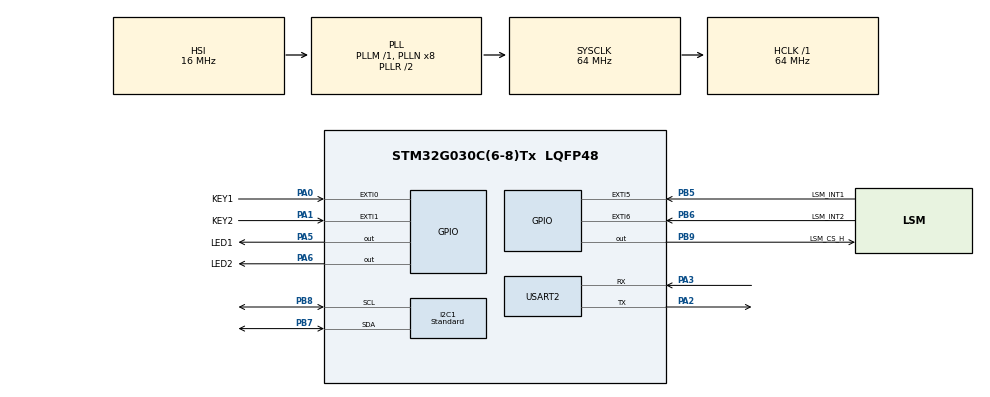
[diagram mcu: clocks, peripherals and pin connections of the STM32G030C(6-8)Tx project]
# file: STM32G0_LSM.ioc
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I2C1.I2C_Speed_Mode=I2C_Standard
I2C1.Timing=0x10707DBC
Mcu.Family=STM32G0
Mcu.Name=STM32G030C(6-8)Tx
Mcu.Package=LQFP48
NVIC.EXTI0_1_IRQn=true\:0\:0\:false\:false\:true\:true\:true
NVIC.EXTI4_15_IRQn=true\:0\:0\:false\:false\:true\:true\:true
NVIC.TIM3_IRQn=true\:1\:0\:true\:false\:true\:true\:true
NVIC.USART2_IRQn=true\:0\:0\:false\:false\:true\:true\:true
PA0.GPIO_Label=KEY1
PA0.Signal=GPXTI0
PA1.GPIO_Label=KEY2
PA1.Signal=GPXTI1
PA13.Mode=Serial_Wire
PA13.Signal=SYS_SWDIO
PA14-BOOT0.Mode=Serial_Wire
PA14-BOOT0.Signal=SYS_SWCLK
PA2.Mode=Asynchronous
PA2.Signal=USART2_TX
PA3.Mode=Asynchronous
PA3.Signal=USART2_RX
PA5.GPIO_Label=LED1
PA5.PinState=GPIO_PIN_SET
PA5.Signal=GPIO_Output
PA6.GPIO_Label=LED2
PA6.PinState=GPIO_PIN_SET
PA6.Signal=GPIO_Output
PB5.GPIO_Label=LSM_INT1
PB5.Signal=GPXTI5
PB6.GPIO_Label=LSM_INT2
PB6.Signal=GPXTI6
PB7.Mode=I2C
PB7.Signal=I2C1_SDA
PB8.Mode=I2C
PB8.Signal=I2C1_SCL
PB9.GPIO_Label=LSM_CS_H
PB9.PinState=GPIO_PIN_SET
PB9.Signal=GPIO_Output
PF0-OSC_IN\ (PF0).Mode=HSE-External-Oscillator
PF0-OSC_IN\ (PF0).Signal=RCC_OSC_IN
PF1-OSC_OUT\ (PF1).Mode=HSE-External-Oscillator
PF1-OSC_OUT\ (PF1).Signal=RCC_OSC_OUT
ProjectManager.HeapSize=0x200
ProjectManager.StackSize=0x400
ProjectManager.TargetToolchain=MDK-ARM V5
RCC.ADCFreq_Value=64000000
RCC.AHBFreq_Value=64000000
RCC.CortexFreq_Value=64000000
RCC.EXTERNAL_CLOCK_VALUE=12288000
RCC.HCLKFreq_Value=64000000
RCC.HSE_VALUE=16000000
RCC.HSI_VALUE=16000000
RCC.LSE_VALUE=32768
RCC.SYSCLKFreq_VALUE=64000000
RCC.SYSCLKSource=RCC_SYSCLKSOURCE_PLLCLK
RCC.VCOOutputFreq_Value=128000000
TIM3.AutoReloadPreload=TIM_AUTORELOAD_PRELOAD_ENABLE
TIM3.Period=160-1
TIM3.Prescaler=400-1
USART2.VirtualMode-Asynchronous=VM_ASYNC
VP_TIM3_VS_ClockSourceINT.Mode=Internal
board=custom

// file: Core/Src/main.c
/* USER CODE BEGIN Header */
/**
  ******************************************************************************
  * @file           : main.c
  * @brief          : Main program body
  ******************************************************************************
  * @attention
  *
  * <h2><center>&copy; Copyright (c) 2021 STMicroelectronics.
  * All rights reserved.</center></h2>
  *
  * This software component is licensed by ST under BSD 3-Clause license,
  * the "License"; You may not use this file except in compliance with the
  * License. You may obtain a copy of the License at:
  *                        opensource.org/licenses/BSD-3-Clause
  *
  ******************************************************************************
  */
/* USER CODE END Header */
#include "main.h"
#include "i2c.h"
#include "tim.h"
#include "usart.h"
#include "gpio.h"

/* USER CODE BEGIN Includes */
#include "lsm6dsl.h"
#include "MahonyAHRS.h"
#include "stdio.h"
#include "SEGGER_RTT.h"
#include "SEGGER_RTT_Conf.h"
#include "string.h"
/* USER CODE END Includes */

/* USER CODE BEGIN PTD */
#define Factor  70/1000

extern float  Accel_x;	     		//X轴加速度值暂存
extern float Accel_y;	    		//Y轴加速度值暂存
extern float Accel_z;	     		//Z轴加速度值暂存
extern float Gyro_x;				//X轴陀螺仪数据暂存
extern float Gyro_y;        		//Y轴陀螺仪数据暂存
extern float Gyro_z;		 		//Z轴陀螺仪数据暂存
extern S_short_XYZ ACC_Valu_First;
extern S_short_XYZ GYRO_Valu_First;
extern int16_t Acc[3],GYO[3];
extern float Temp;
extern float  Ax,Ay,Az,Gx,Gy,Gz;
extern float roll, pitch;
extern float TIMESTAMP0,TIMESTAMP1,TIMESTAMP2;
/* USER CODE END PTD */

void SystemClock_Config(void);
/* USER CODE BEGIN PFP */
//-----重新定义fputc函数-----//
int fputc(int ch, FILE *f)
{
  HAL_UART_Transmit(&huart2,(uint8_t *)&ch,1,1000);//阻塞方式打印
  return ch;
}
void uart_error(void)
{

	    char uart_error_flag=0;
	    uint8_t *Rx_buff;
	    uint16_t Rxdsize;
	    HAL_UART_Receive_IT(&huart2, (uint8_t *)Rx_buff, Rxdsize);
      if( (huart2.RxXferCount < Rxdsize) && (uart_error_flag==0) )
        {
            /*RxXferCount 告诉我们剩余空间大小，如果剩余空间和总空间不一样，则说明中断收到数据了*/
            printf("huart2.RxXferCount = %d\r\n",huart2.RxXferCount);
            uart_error_flag = 1;
            huart2.RxXferCount = 5; //修改剩余空间，防止无法进入回调
        }
}
/* USER CODE END PFP */

/* USER CODE BEGIN 0 */
void HAL_TIM_PeriodElapsedCallback(TIM_HandleTypeDef *htim)
{
	if(htim->Instance == TIM3)
	{
//  printf("Ax=%f Ay=%f Az=%f\r\n",Ax,Ay,Az);
//  printf("Gx=%f Gy=%f Gz=%f\r\n",Gx,Gy,Gz);
	}
}
/* USER CODE END 0 */

int main(void)
{

  /* MCU Configuration--------------------------------------------------------*/

  /* Reset of all peripherals, Initializes the Flash interface and the Systick. */
  HAL_Init();

  /* Configure the system clock */
  SystemClock_Config();

  /* Initialize all configured peripherals */
  MX_GPIO_Init();
  MX_I2C1_Init();
  MX_USART2_UART_Init();
  MX_TIM3_Init();

  /* USER CODE BEGIN 2 */
	uart_error(); //处理上电时串口中断误判的问题
	lsm6dsl_Init();
	HAL_TIM_Base_Start_IT(&htim3);
	Mahony_Init(200);
  /* USER CODE END 2 */

  /* Infinite loop */
  while (1)
  {

    /* USER CODE BEGIN 3 */

//		LSM6DSL_Read_timestamp();
		LSM6DSL_Read_Temp();		//得到温度值
		LSM6DSL_Accel();
		LSM6DSL_Gyro();
		LSM6DSL_ReadValu();
		Mahony_update( GYRO_Valu_First.X * Factor,GYRO_Valu_First.Y * Factor, GYRO_Valu_First.Z* Factor,
									ACC_Valu_First.X,ACC_Valu_First.Y,ACC_Valu_First.Z,
									0,0,0);
		Mahony_computeAngles();

		printf("Ax=%.2f Ay=%.2f Az=%.2f\r\n",Accel_x,Accel_y,Accel_z);
    printf("Gx=%.2f Gy=%.2f Gz=%.2f\r\n",Gyro_x,Gyro_y,Gyro_z);
  }
  /* USER CODE END 3 */
}

void SystemClock_Config(void)
{
  RCC_OscInitTypeDef RCC_OscInitStruct = {0};
  RCC_ClkInitTypeDef RCC_ClkInitStruct = {0};
  RCC_PeriphCLKInitTypeDef PeriphClkInit = {0};

  /** Configure the main internal regulator output voltage
  */
  HAL_PWREx_ControlVoltageScaling(PWR_REGULATOR_VOLTAGE_SCALE1);
  /** Initializes the RCC Oscillators according to the specified parameters
  * in the RCC_OscInitTypeDef structure.
  */
  RCC_OscInitStruct.OscillatorType = RCC_OSCILLATORTYPE_HSI;
  RCC_OscInitStruct.HSIState = RCC_HSI_ON;
  RCC_OscInitStruct.HSIDiv = RCC_HSI_DIV1;
  RCC_OscInitStruct.HSICalibrationValue = RCC_HSICALIBRATION_DEFAULT;
  RCC_OscInitStruct.PLL.PLLState = RCC_PLL_ON;
  RCC_OscInitStruct.PLL.PLLSource = RCC_PLLSOURCE_HSI;
  RCC_OscInitStruct.PLL.PLLM = RCC_PLLM_DIV1;
  RCC_OscInitStruct.PLL.PLLN = 8;
  RCC_OscInitStruct.PLL.PLLP = RCC_PLLP_DIV2;
  RCC_OscInitStruct.PLL.PLLR = RCC_PLLR_DIV2;
  if (HAL_RCC_OscConfig(&RCC_OscInitStruct) != HAL_OK)
  {
    Error_Handler();
  }
  /** Initializes the CPU, AHB and APB buses clocks
  */
  RCC_ClkInitStruct.ClockType = RCC_CLOCKTYPE_HCLK|RCC_CLOCKTYPE_SYSCLK
                              |RCC_CLOCKTYPE_PCLK1;
  RCC_ClkInitStruct.SYSCLKSource = RCC_SYSCLKSOURCE_PLLCLK;
  RCC_ClkInitStruct.AHBCLKDivider = RCC_SYSCLK_DIV1;
  RCC_ClkInitStruct.APB1CLKDivider = RCC_HCLK_DIV1;

  if (HAL_RCC_ClockConfig(&RCC_ClkInitStruct, FLASH_LATENCY_2) != HAL_OK)
  {
    Error_Handler();
  }
  /** Initializes the peripherals clocks
  */
  PeriphClkInit.PeriphClockSelection = RCC_PERIPHCLK_I2C1;
  PeriphClkInit.I2c1ClockSelection = RCC_I2C1CLKSOURCE_PCLK1;
  if (HAL_RCCEx_PeriphCLKConfig(&PeriphClkInit) != HAL_OK)
  {
    Error_Handler();
  }
}

void Error_Handler(void)
{
  __disable_irq();
  while (1)
  {
  }
}

/************************ (C) COPYRIGHT STMicroelectronics *****END OF FILE****/
